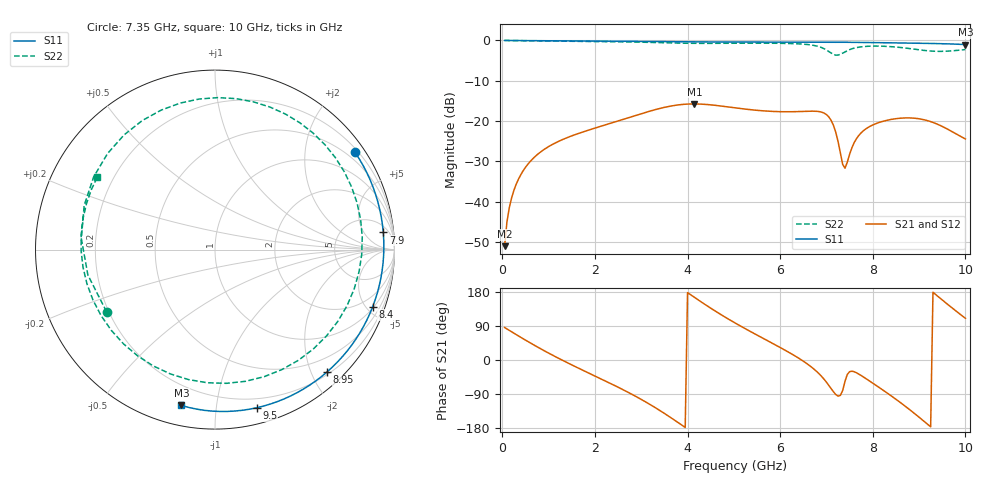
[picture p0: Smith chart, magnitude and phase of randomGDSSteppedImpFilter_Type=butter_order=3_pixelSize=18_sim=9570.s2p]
! freq	dB(S11)	phase(S11)	dB(S12)	phase(S12)
!  dB(S21)	phase(S21)	dB(S22)	phase(S22)
!S-par simulation data
#  GHz  S  DB  R 50
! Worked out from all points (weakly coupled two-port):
!   200 points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, 50 MHz to 10 GHz, reference 50 ohm
!   highest |S21| = -15.76 dB at 4.15 GHz (marker M1); lowest = -51.1 dB at 50 MHz (marker M2)
!   lowest |S11| = -1.0 dB at 10 GHz (marker M3), VSWR 16.87, Z = 4.88 - j40.1 ohm
!   |S11| at or under -10 dB: nowhere
!   |S22| runs from -3.7 to 0.0 dB; largest |S21 - S12| = 0
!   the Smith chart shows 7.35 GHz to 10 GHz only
!   S11 on the Smith chart (normalised r, x): 7.35 GHz: 0.28, +3.15; 7.9 GHz: 9, +15; 8.4 GHz: 1.08, -5.46; 8.95 GHz: 0.24, -2.24; 9.5 GHz: 0.12, -1.29; 10 GHz: 0.10, -0.80
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0.05  -0.00 -2.3  -51.08 85.7  -51.08 85.7  -0.00 -5.3
0.3  -0.02 -13.7  -35.71 67.1  -35.71 67.1  -0.04 -31.4
0.85  -0.06 -38.6  -27.49 28.1  -27.49 28.1  -0.12 -84.8
1.75  -0.12 -77.7  -22.69 -27.7  -22.69 -27.7  -0.22 -158.4
2.5  -0.18 -108.7  -19.98 -71.8  -19.98 -71.8  -0.32 143.7
3.4  -0.27 -144.7  -16.89 -133.1  -16.89 -133.1  -0.54 57.6
3.8  -0.32 -160.5  -16.00 -165.4  -16.00 -165.4  -0.66 9.6
4.15  -0.35 -174.5  -15.76 165.3  -15.76 165.3  -0.72 -34.3
4.55  -0.37 169.2  -16.05 132.9  -16.05 132.9  -0.72 -81.3
5.05  -0.39 147.9  -16.77 96.1  -16.77 96.1  -0.68 -131.4
5.9  -0.42 108.9  -17.65 39.6  -17.65 39.6  -0.69 157.5
6.7  -0.47 69.0  -17.56 -20.9  -17.56 -20.9  -1.17 74.4
7.05  -0.48 50.9  -18.98 -66.8  -18.98 -66.8  -2.75 -11.9
7.2  -0.46 43.1  -22.76 -90.9  -22.76 -90.9  -3.65 -80.5
7.35  -0.45 35.0  -30.77 -80.4  -30.77 -80.4  -3.14 -150.2
7.6  -0.47 21.6  -25.34 -31.0  -25.34 -31.0  -1.90 138.2
7.9  -0.52 5.8  -21.59 -53.0  -21.59 -53.0  -1.44 88.9
8.35  -0.58 -17.5  -19.72 -90.5  -19.72 -90.5  -1.51 31.0
8.4  -0.59 -20.0  -19.61 -94.8  -19.61 -94.8  -1.54 24.6
8.95  -0.68 -47.7  -19.37 -146.0  -19.37 -146.0  -2.25 -53.0
9.5  -0.81 -75.3  -21.35 158.4  -21.35 158.4  -2.71 -142.1
10  -1.03 -102.2  -24.46 110.1  -24.46 110.1  -2.26 148.2
